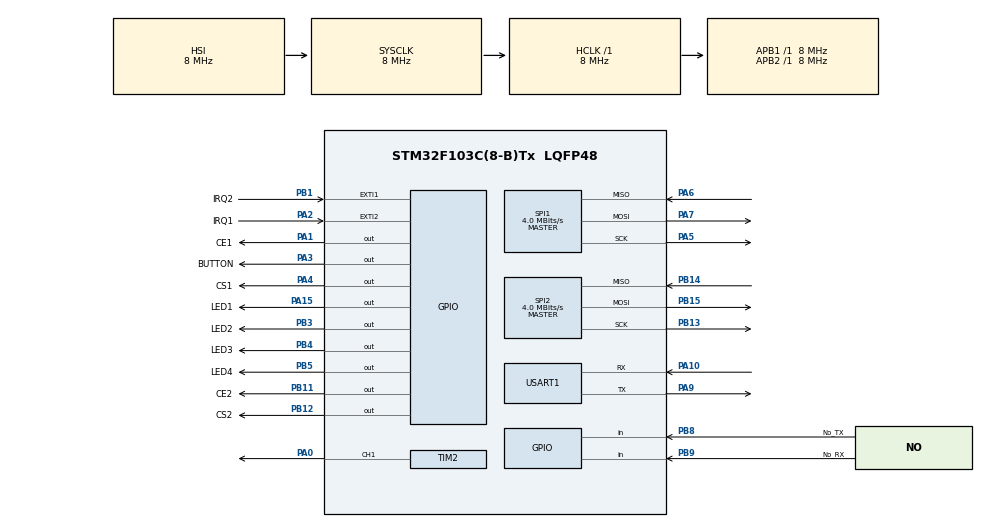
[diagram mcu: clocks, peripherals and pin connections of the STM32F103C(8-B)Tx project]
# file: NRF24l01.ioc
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Mcu.Family=STM32F1
Mcu.Name=STM32F103C(8-B)Tx
Mcu.Package=LQFP48
NVIC.EXTI2_IRQn=true\:0\:0\:false\:false\:true\:true
NVIC.PriorityGroup=NVIC_PRIORITYGROUP_4
NVIC.TIM4_IRQn=true\:0\:0\:false\:false\:true\:true
NVIC.USART1_IRQn=true\:0\:0\:false\:false\:true\:true
PA0-WKUP.Signal=S_TIM2_CH1_ETR
PA1.GPIO_Label=CE1
PA1.Signal=GPIO_Output
PA10.Mode=Asynchronous
PA10.Signal=USART1_RX
PA13.Mode=Serial_Wire
PA13.Signal=SYS_JTMS-SWDIO
PA14.Mode=Serial_Wire
PA14.Signal=SYS_JTCK-SWCLK
PA15.GPIO_Label=LED1
PA15.Signal=GPIO_Output
PA2.GPIO_Label=IRQ1
PA2.GPIO_ModeDefaultEXTI=GPIO_MODE_IT_FALLING
PA2.GPIO_PuPd=GPIO_PULLUP
PA2.Signal=GPXTI2
PA3.GPIO_Label=BUTTON
PA3.Signal=GPIO_Output
PA4.GPIO_Label=CS1
PA4.Signal=GPIO_Output
PA5.Mode=Full_Duplex_Master
PA5.Signal=SPI1_SCK
PA6.Mode=Full_Duplex_Master
PA6.Signal=SPI1_MISO
PA7.Mode=Full_Duplex_Master
PA7.Signal=SPI1_MOSI
PA9.Mode=Asynchronous
PA9.Signal=USART1_TX
PB1.GPIO_Label=IRQ2
PB1.GPIO_PuPd=GPIO_PULLUP
PB1.Signal=GPXTI1
PB11.GPIO_Label=CE2
PB11.Signal=GPIO_Output
PB12.GPIO_Label=CS2
PB12.Signal=GPIO_Output
PB13.Mode=Full_Duplex_Master
PB13.Signal=SPI2_SCK
PB14.Mode=Full_Duplex_Master
PB14.Signal=SPI2_MISO
PB15.Mode=Full_Duplex_Master
PB15.Signal=SPI2_MOSI
PB3.GPIO_Label=LED2
PB3.Signal=GPIO_Output
PB4.GPIO_Label=LED3
PB4.Signal=GPIO_Output
PB5.GPIO_Label=LED4
PB5.Signal=GPIO_Output
PB8.GPIO_Label=No_TX
PB8.GPIO_PuPd=GPIO_PULLUP
PB8.Signal=GPIO_Input
PB9.GPIO_Label=No_RX
PB9.GPIO_PuPd=GPIO_PULLUP
PB9.Signal=GPIO_Input
PD0-OSC_IN.Mode=HSE-External-Oscillator
PD0-OSC_IN.Signal=RCC_OSC_IN
PD1-OSC_OUT.Mode=HSE-External-Oscillator
PD1-OSC_OUT.Signal=RCC_OSC_OUT
ProjectManager.HeapSize=0x200
ProjectManager.StackSize=0x400
ProjectManager.TargetToolchain=MDK-ARM V5
RCC.AHBFreq_Value=8000000
RCC.APB1Freq_Value=8000000
RCC.APB1TimFreq_Value=8000000
RCC.APB2Freq_Value=8000000
RCC.APB2TimFreq_Value=8000000
RCC.HCLKFreq_Value=8000000
RCC.HSE_VALUE=12000000
RCC.PLLSourceVirtual=RCC_PLLSOURCE_HSE
RCC.SYSCLKFreq_VALUE=8000000
RCC.USBFreq_Value=24000000
SH.S_TIM2_CH1_ETR.0=TIM2_CH1,PWM Generation1 CH1
SPI1.BaudRatePrescaler=SPI_BAUDRATEPRESCALER_2
SPI1.CalculateBaudRate=4.0 MBits/s
SPI1.Direction=SPI_DIRECTION_2LINES
SPI1.Mode=SPI_MODE_MASTER
SPI1.VirtualType=VM_MASTER
SPI2.BaudRatePrescaler=SPI_BAUDRATEPRESCALER_2
SPI2.CalculateBaudRate=4.0 MBits/s
SPI2.Direction=SPI_DIRECTION_2LINES
SPI2.Mode=SPI_MODE_MASTER
SPI2.VirtualType=VM_MASTER
TIM2.AutoReloadPreload=TIM_AUTORELOAD_PRELOAD_ENABLE
TIM2.Channel-PWM\ Generation1\ CH1=TIM_CHANNEL_1
TIM2.Period=18181
TIM2.Pulse-PWM\ Generation1\ CH1=9091
TIM4.AutoReloadPreload=TIM_AUTORELOAD_PRELOAD_ENABLE
TIM4.Channel-Output\ Compare1\ No\ Output=TIM_CHANNEL_1
TIM4.Channel-Output\ Compare2\ No\ Output=TIM_CHANNEL_2
TIM4.Channel-Output\ Compare3\ No\ Output=TIM_CHANNEL_3
TIM4.Channel-Output\ Compare4\ No\ Output=TIM_CHANNEL_4
TIM4.Period=49999
TIM4.Prescaler=15
TIM4.Pulse-Output\ Compare1\ No\ Output=49999
TIM4.Pulse-Output\ Compare2\ No\ Output=49999
TIM4.Pulse-Output\ Compare3\ No\ Output=49999
TIM4.Pulse-Output\ Compare4\ No\ Output=49999
USART1.VirtualMode=VM_ASYNC
VP_TIM4_VS_no_output1.Mode=Output Compare1 No Output
VP_TIM4_VS_no_output2.Mode=Output Compare2 No Output
VP_TIM4_VS_no_output3.Mode=Output Compare3 No Output
VP_TIM4_VS_no_output4.Mode=Output Compare4 No Output
board=NRF24l01

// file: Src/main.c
/**
  ******************************************************************************
  * @file           : main.c
  * @brief          : Main program body
  ******************************************************************************
  ** This notice applies to any and all portions of this file
  * that are not between comment pairs USER CODE BEGIN and
  * USER CODE END. Other portions of this file, whether
  * inserted by the user or by software development tools
  * are owned by their respective copyright owners.
  *
  * COPYRIGHT(c) 2018 STMicroelectronics
  *
  * Redistribution and use in source and binary forms, with or without modification,
  * are permitted provided that the following conditions are met:
  *   1. Redistributions of source code must retain the above copyright notice,
  *      this list of conditions and the following disclaimer.
  *   2. Redistributions in binary form must reproduce the above copyright notice,
  *      this list of conditions and the following disclaimer in the documentation
  *      and/or other materials provided with the distribution.
  *   3. Neither the name of STMicroelectronics nor the names of its contributors
  *      may be used to endorse or promote products derived from this software
  *      without specific prior written permission.
  *
  * THIS SOFTWARE IS PROVIDED BY THE COPYRIGHT HOLDERS AND CONTRIBUTORS "AS IS"
  * AND ANY EXPRESS OR IMPLIED WARRANTIES, INCLUDING, BUT NOT LIMITED TO, THE
  * IMPLIED WARRANTIES OF MERCHANTABILITY AND FITNESS FOR A PARTICULAR PURPOSE ARE
  * DISCLAIMED. IN NO EVENT SHALL THE COPYRIGHT HOLDER OR CONTRIBUTORS BE LIABLE
  * FOR ANY DIRECT, INDIRECT, INCIDENTAL, SPECIAL, EXEMPLARY, OR CONSEQUENTIAL
  * DAMAGES (INCLUDING, BUT NOT LIMITED TO, PROCUREMENT OF SUBSTITUTE GOODS OR
  * SERVICES; LOSS OF USE, DATA, OR PROFITS; OR BUSINESS INTERRUPTION) HOWEVER
  * CAUSED AND ON ANY THEORY OF LIABILITY, WHETHER IN CONTRACT, STRICT LIABILITY,
  * OR TORT (INCLUDING NEGLIGENCE OR OTHERWISE) ARISING IN ANY WAY OUT OF THE USE
  * OF THIS SOFTWARE, EVEN IF ADVISED OF THE POSSIBILITY OF SUCH DAMAGE.
  *
  ******************************************************************************
  */
#include "main.h"
#include "stm32f1xx_hal.h"

/* USER CODE BEGIN Includes */
#include "nrf24l01.h"
#include "string.h"
#include "Alerts.h"
/* USER CODE END Includes */

SPI_HandleTypeDef hspi1;
SPI_HandleTypeDef hspi2;

TIM_HandleTypeDef htim2;
TIM_HandleTypeDef htim4;

UART_HandleTypeDef huart1;

/* USER CODE BEGIN PV */
/* Private variables ---------------------------------------------------------*/

volatile uint8_t uart_in[32];
volatile char * uart_in_p = (char *) &uart_in;
/* USER CODE END PV */

void SystemClock_Config(void);
static void MX_GPIO_Init(void);
static void MX_SPI1_Init(void);
static void MX_SPI2_Init(void);
static void MX_USART1_UART_Init(void);
static void MX_TIM2_Init(void);
static void MX_TIM4_Init(void);

void HAL_TIM_MspPostInit(TIM_HandleTypeDef *htim);

/* USER CODE BEGIN PFP */
/* Private function prototypes -----------------------------------------------*/
void BUZZ (uint8_t time_x100ms);
void BLINK (uint8_t time_x100ms, uint8_t led, MODE mode);
uint8_t atoi8 (uint8_t* start);
uint8_t Parse_Packet (uint8_t *in);
/* USER CODE END PFP */

/* USER CODE BEGIN 0 */
/* FOR USE */
LED_driver LD1, LD2, LD3, LD4;
LED_driver* LED_p[4];
BUZ_driver Buzzer;

#define IS_DIGIT(x) (((x)>47) && ((x)<58))
#define PACKET_SIZE 5   //NRFx.payload_length
nrf24l01_dev nrf1;
uint8_t i,reg;
uint8_t push[32] = "heyoo";
uint8_t pull[32] = "yoohe";
uint8_t ADDR_1[5] = {'R','F','1','0','3'};  //TX, RX_P0
uint8_t ADDR_2[5] = {'R','F','4','0','7'};  //PF_P1
uint8_t PIPE_1[5] = {'P','I','P','E','1'};
uint8_t uart_str[32] = "";
char* uart_str_p = (char *)uart_str;
/* FOR DEBUG */
HAL_SPI_StateTypeDef spi_state;
//static NRF_RESULT res;
volatile uint8_t IRQ1_counter, IRQ2_counter, IRQ_flags;
/* USER CODE END 0 */

int main(void)
{
  /* USER CODE BEGIN 1 */

    LD1.LED_Port = GPIOA;   LD1.LED_Pin = GPIO_PIN_15;
    LD2.LED_Port = GPIOB;   LD2.LED_Pin = GPIO_PIN_3;
    LD3.LED_Port = GPIOB;   LD3.LED_Pin = GPIO_PIN_4;
    LD4.LED_Port = GPIOB;   LD4.LED_Pin = GPIO_PIN_5;
    LED_p[0]=&LD1; LED_p[1]=&LD2; LED_p[2]=&LD3; LED_p[3]=&LD4;

    Buzzer.TIM_Handle = &htim2;
    Buzzer.TIM_Channel = TIM_CHANNEL_1;

    IRQ1_counter = 0;
    nrf1.DATA_RATE = NRF_DATA_RATE_2MBPS;
    nrf1.TX_POWER = NRF_TX_PWR_0dBm;
    nrf1.CRC_WIDTH = NRF_CRC_WIDTH_1B;
    nrf1.ADDR_WIDTH = NRF_ADDR_WIDTH_5;
    nrf1.PayloadLength = PACKET_SIZE; // maximum is 32 Bytes
    nrf1.RetransmitCount = 15; // maximum is 15 times
    nrf1.RetransmitDelay = 0x0F; // 4000us, LSB:250us

    nrf1.RF_CHANNEL = 0;
    nrf1.RX_ADDRESS = ADDR_1;   /*Pipe0 must be the same as target addr - for ACK packets*/
    nrf1.TX_ADDRESS = ADDR_1;   /*Target addr*/

    nrf1.NRF_IRQn = EXTI2_IRQn;
    nrf1.spi=&hspi1;

	nrf1.NRF_CSN_GPIOx = GPIOA;
    nrf1.NRF_CSN_GPIO_PIN = GPIO_PIN_4;
    nrf1.NRF_CE_GPIOx = GPIOA;
    nrf1.NRF_CE_GPIO_PIN = GPIO_PIN_1;
    nrf1.NRF_IRQ_GPIOx = GPIOA;
    nrf1.NRF_IRQ_GPIO_PIN = GPIO_PIN_2;

  /* USER CODE END 1 */

  /* MCU Configuration----------------------------------------------------------*/

  /* Reset of all peripherals, Initializes the Flash interface and the Systick. */
  HAL_Init();

  /* Configure the system clock */
  SystemClock_Config();

  /* Initialize all configured peripherals */
  MX_GPIO_Init();
  MX_SPI1_Init();
  MX_SPI2_Init();
  MX_USART1_UART_Init();
  MX_TIM2_Init();
  MX_TIM4_Init();
  /* USER CODE BEGIN 2 */
//HAL_Delay(2000);
    USART1->CR1 |= (1<<5); //RXNEIE = RX not empty interrupt enable;
    HAL_TIM_OC_Start (&htim4, TIM_CHANNEL_1);   //enable buzz timer
    HAL_TIM_OC_Start (&htim4, TIM_CHANNEL_2);   //enable blink timer
    TIM4->DIER |= TIM_IT_CC2;                   //enable blink interrupt
  sprintf(uart_str_p, "\nAssimilation successful. %u\n",SystemCoreClock);
  HAL_UART_Transmit(&huart1, uart_str, strlen(uart_str_p), 100);
/*DEBUG LINE*/  HAL_GPIO_WritePin(GPIOB, GPIO_PIN_3 | GPIO_PIN_4 | GPIO_PIN_5, GPIO_PIN_RESET);
/*DEBUG LINE*/  HAL_GPIO_WritePin(GPIOA, GPIO_PIN_15, GPIO_PIN_RESET);

    sprintf(uart_str_p, "NRF1 SET returns=%d\n",NRF_Init(&nrf1));
    HAL_UART_Transmit(&huart1, uart_str, strlen(uart_str_p), 100);

 /*HERE STARTS FUN*/
    NRF_SendPacket(&nrf1,push);
    //BUZZ (1);   //REPORT FOR DUTY!
    BLINK (5, 1, PERM);

  /* USER CODE END 2 */

  /* Infinite loop */
  while (1)
  {

  /* USER CODE BEGIN 3 */

      /*NO FUN WITHOUT CHECK*/
    NRF_ReadRegister(&nrf1, NRF_CONFIG, &reg);

//    if (!HAL_GPIO_ReadPin(GPIOB, GPIO_PIN_9))
//        NRF_EnableRXDataReadyIRQ(&nrf1, 0);
//    else NRF_EnableRXDataReadyIRQ(&nrf1, 1); //NRF_EnableTXDataSentIRQ
      //BAD IDEA - CONSTANT REG ABUSE

    if ( !(reg&0x80) && (reg & 2) )
    {           /*==========FUN HERE==========*/

        if ((IRQ_flags&(1<<6))&&(HAL_GPIO_ReadPin(GPIOB, GPIO_PIN_9)))   // RX FIFO Interrupt
        {
            //sprintf(uart_str_p, "\nSPAWN MORE OVERLORDS!!!\n");
            IRQ_flags &= ~(1<<6);    //drop flag
            sprintf(uart_str_p, "%s\n",nrf1.RX_BUFFER);
            HAL_UART_Transmit(&huart1, uart_str, strlen(uart_str_p), 100);
            BLINK(2, 2, ONCE);      //report outside
        }
        if (IRQ_flags&(1<<5))   // TX Data Sent Interrupt
        {
            IRQ_flags &= ~(1<<5);    //drop flag
            BLINK(2, 3, ONCE);      //report outside
        }
        if (IRQ_flags&(1<<4))   // MaxRetransmits reached
        {
            IRQ_flags &= ~(1<<4);    //drop flag
            BLINK(2, 4, ONCE);      //report outside
        }
            if (HAL_GPIO_ReadPin(GPIOB, GPIO_PIN_8))
                NRF_SendPacket(&nrf1,push);

    }
    else
        ;
//    IRQ_flags=0;
    if (uart_in[0] != 0)
    {
    Parse_Packet(uart_in);
        for (i=0;i<32;i++)
        {
            if (uart_in[i] == 0x0A || uart_in[i] == 0x0D)
                break;
            else
                uart_in[i]=0;
        }
    }
    HAL_Delay(500);             //REWRITE THIS SHIT ON TIM4_CH3
  }
  /* USER CODE END 3 */

}

void SystemClock_Config(void)
{

  RCC_OscInitTypeDef RCC_OscInitStruct;
  RCC_ClkInitTypeDef RCC_ClkInitStruct;

    /**Initializes the CPU, AHB and APB busses clocks
    */
  RCC_OscInitStruct.OscillatorType = RCC_OSCILLATORTYPE_HSI;
  RCC_OscInitStruct.HSIState = RCC_HSI_ON;
  RCC_OscInitStruct.HSICalibrationValue = 16;
  RCC_OscInitStruct.PLL.PLLState = RCC_PLL_NONE;
  if (HAL_RCC_OscConfig(&RCC_OscInitStruct) != HAL_OK)
  {
    _Error_Handler(__FILE__, __LINE__);
  }

    /**Initializes the CPU, AHB and APB busses clocks
    */
  RCC_ClkInitStruct.ClockType = RCC_CLOCKTYPE_HCLK|RCC_CLOCKTYPE_SYSCLK
                              |RCC_CLOCKTYPE_PCLK1|RCC_CLOCKTYPE_PCLK2;
  RCC_ClkInitStruct.SYSCLKSource = RCC_SYSCLKSOURCE_HSI;
  RCC_ClkInitStruct.AHBCLKDivider = RCC_SYSCLK_DIV1;
  RCC_ClkInitStruct.APB1CLKDivider = RCC_HCLK_DIV1;
  RCC_ClkInitStruct.APB2CLKDivider = RCC_HCLK_DIV1;

  if (HAL_RCC_ClockConfig(&RCC_ClkInitStruct, FLASH_LATENCY_0) != HAL_OK)
  {
    _Error_Handler(__FILE__, __LINE__);
  }

    /**Configure the Systick interrupt time
    */
  HAL_SYSTICK_Config(HAL_RCC_GetHCLKFreq()/1000);

    /**Configure the Systick
    */
  HAL_SYSTICK_CLKSourceConfig(SYSTICK_CLKSOURCE_HCLK);

  /* SysTick_IRQn interrupt configuration */
  HAL_NVIC_SetPriority(SysTick_IRQn, 0, 0);
}

/* SPI1 init function */
static void MX_SPI1_Init(void)
{

  /* SPI1 parameter configuration*/
  hspi1.Instance = SPI1;
  hspi1.Init.Mode = SPI_MODE_MASTER;
  hspi1.Init.Direction = SPI_DIRECTION_2LINES;
  hspi1.Init.DataSize = SPI_DATASIZE_8BIT;
  hspi1.Init.CLKPolarity = SPI_POLARITY_LOW;
  hspi1.Init.CLKPhase = SPI_PHASE_1EDGE;
  hspi1.Init.NSS = SPI_NSS_SOFT;
  hspi1.Init.BaudRatePrescaler = SPI_BAUDRATEPRESCALER_2;
  hspi1.Init.FirstBit = SPI_FIRSTBIT_MSB;
  hspi1.Init.TIMode = SPI_TIMODE_DISABLE;
  hspi1.Init.CRCCalculation = SPI_CRCCALCULATION_DISABLE;
  hspi1.Init.CRCPolynomial = 10;
  if (HAL_SPI_Init(&hspi1) != HAL_OK)
  {
    _Error_Handler(__FILE__, __LINE__);
  }

}

/* SPI2 init function */
static void MX_SPI2_Init(void)
{

  /* SPI2 parameter configuration*/
  hspi2.Instance = SPI2;
  hspi2.Init.Mode = SPI_MODE_MASTER;
  hspi2.Init.Direction = SPI_DIRECTION_2LINES;
  hspi2.Init.DataSize = SPI_DATASIZE_8BIT;
  hspi2.Init.CLKPolarity = SPI_POLARITY_LOW;
  hspi2.Init.CLKPhase = SPI_PHASE_1EDGE;
  hspi2.Init.NSS = SPI_NSS_SOFT;
  hspi2.Init.BaudRatePrescaler = SPI_BAUDRATEPRESCALER_2;
  hspi2.Init.FirstBit = SPI_FIRSTBIT_MSB;
  hspi2.Init.TIMode = SPI_TIMODE_DISABLE;
  hspi2.Init.CRCCalculation = SPI_CRCCALCULATION_DISABLE;
  hspi2.Init.CRCPolynomial = 10;
  if (HAL_SPI_Init(&hspi2) != HAL_OK)
  {
    _Error_Handler(__FILE__, __LINE__);
  }

}

/* TIM2 init function */
static void MX_TIM2_Init(void)
{

  TIM_MasterConfigTypeDef sMasterConfig;
  TIM_OC_InitTypeDef sConfigOC;

  htim2.Instance = TIM2;
  htim2.Init.Prescaler = 0;
  htim2.Init.CounterMode = TIM_COUNTERMODE_UP;
  htim2.Init.Period = 18181;
  htim2.Init.ClockDivision = TIM_CLOCKDIVISION_DIV1;
  htim2.Init.AutoReloadPreload = TIM_AUTORELOAD_PRELOAD_ENABLE;
  if (HAL_TIM_PWM_Init(&htim2) != HAL_OK)
  {
    _Error_Handler(__FILE__, __LINE__);
  }

  sMasterConfig.MasterOutputTrigger = TIM_TRGO_RESET;
  sMasterConfig.MasterSlaveMode = TIM_MASTERSLAVEMODE_DISABLE;
  if (HAL_TIMEx_MasterConfigSynchronization(&htim2, &sMasterConfig) != HAL_OK)
  {
    _Error_Handler(__FILE__, __LINE__);
  }

  sConfigOC.OCMode = TIM_OCMODE_PWM1;
  sConfigOC.Pulse = 9091;
  sConfigOC.OCPolarity = TIM_OCPOLARITY_HIGH;
  sConfigOC.OCFastMode = TIM_OCFAST_DISABLE;
  if (HAL_TIM_PWM_ConfigChannel(&htim2, &sConfigOC, TIM_CHANNEL_1) != HAL_OK)
  {
    _Error_Handler(__FILE__, __LINE__);
  }

  HAL_TIM_MspPostInit(&htim2);

}

/* TIM4 init function */
static void MX_TIM4_Init(void)
{

  TIM_MasterConfigTypeDef sMasterConfig;
  TIM_OC_InitTypeDef sConfigOC;

  htim4.Instance = TIM4;
  htim4.Init.Prescaler = 15;
  htim4.Init.CounterMode = TIM_COUNTERMODE_UP;
  htim4.Init.Period = 49999;
  htim4.Init.ClockDivision = TIM_CLOCKDIVISION_DIV1;
  htim4.Init.AutoReloadPreload = TIM_AUTORELOAD_PRELOAD_ENABLE;
  if (HAL_TIM_OC_Init(&htim4) != HAL_OK)
  {
    _Error_Handler(__FILE__, __LINE__);
  }

  sMasterConfig.MasterOutputTrigger = TIM_TRGO_RESET;
  sMasterConfig.MasterSlaveMode = TIM_MASTERSLAVEMODE_DISABLE;
  if (HAL_TIMEx_MasterConfigSynchronization(&htim4, &sMasterConfig) != HAL_OK)
  {
    _Error_Handler(__FILE__, __LINE__);
  }

  sConfigOC.OCMode = TIM_OCMODE_TIMING;
  sConfigOC.Pulse = 49999;
  sConfigOC.OCPolarity = TIM_OCPOLARITY_HIGH;
  sConfigOC.OCFastMode = TIM_OCFAST_DISABLE;
  if (HAL_TIM_OC_ConfigChannel(&htim4, &sConfigOC, TIM_CHANNEL_1) != HAL_OK)
  {
    _Error_Handler(__FILE__, __LINE__);
  }

  if (HAL_TIM_OC_ConfigChannel(&htim4, &sConfigOC, TIM_CHANNEL_2) != HAL_OK)
  {
    _Error_Handler(__FILE__, __LINE__);
  }

  if (HAL_TIM_OC_ConfigChannel(&htim4, &sConfigOC, TIM_CHANNEL_3) != HAL_OK)
  {
    _Error_Handler(__FILE__, __LINE__);
  }

  if (HAL_TIM_OC_ConfigChannel(&htim4, &sConfigOC, TIM_CHANNEL_4) != HAL_OK)
  {
    _Error_Handler(__FILE__, __LINE__);
  }

}

/* USART1 init function */
static void MX_USART1_UART_Init(void)
{

  huart1.Instance = USART1;
  huart1.Init.BaudRate = 115200;
  huart1.Init.WordLength = UART_WORDLENGTH_8B;
  huart1.Init.StopBits = UART_STOPBITS_1;
  huart1.Init.Parity = UART_PARITY_NONE;
  huart1.Init.Mode = UART_MODE_TX_RX;
  huart1.Init.HwFlowCtl = UART_HWCONTROL_NONE;
  huart1.Init.OverSampling = UART_OVERSAMPLING_16;
  if (HAL_UART_Init(&huart1) != HAL_OK)
  {
    _Error_Handler(__FILE__, __LINE__);
  }

}

/** Configure pins as
        * Analog
        * Input
        * Output
        * EVENT_OUT
        * EXTI
*/
static void MX_GPIO_Init(void)
{

  GPIO_InitTypeDef GPIO_InitStruct;

  /* GPIO Ports Clock Enable */
  __HAL_RCC_GPIOD_CLK_ENABLE();
  __HAL_RCC_GPIOA_CLK_ENABLE();
  __HAL_RCC_GPIOB_CLK_ENABLE();

  /*Configure GPIO pin Output Level */
  HAL_GPIO_WritePin(GPIOA, CE1_Pin|BUTTON_Pin|CS1_Pin|LED1_Pin, GPIO_PIN_RESET);

  /*Configure GPIO pin Output Level */
  HAL_GPIO_WritePin(GPIOB, CE2_Pin|CS2_Pin|LED2_Pin|LED3_Pin
                          |LED4_Pin, GPIO_PIN_RESET);

  /*Configure GPIO pins : CE1_Pin BUTTON_Pin CS1_Pin LED1_Pin */
  GPIO_InitStruct.Pin = CE1_Pin|BUTTON_Pin|CS1_Pin|LED1_Pin;
  GPIO_InitStruct.Mode = GPIO_MODE_OUTPUT_PP;
  GPIO_InitStruct.Speed = GPIO_SPEED_FREQ_LOW;
  HAL_GPIO_Init(GPIOA, &GPIO_InitStruct);

  /*Configure GPIO pin : IRQ1_Pin */
  GPIO_InitStruct.Pin = IRQ1_Pin;
  GPIO_InitStruct.Mode = GPIO_MODE_IT_FALLING;
  GPIO_InitStruct.Pull = GPIO_PULLUP;
  HAL_GPIO_Init(IRQ1_GPIO_Port, &GPIO_InitStruct);

  /*Configure GPIO pin : IRQ2_Pin */
  GPIO_InitStruct.Pin = IRQ2_Pin;
  GPIO_InitStruct.Mode = GPIO_MODE_IT_RISING;
  GPIO_InitStruct.Pull = GPIO_PULLUP;
  HAL_GPIO_Init(IRQ2_GPIO_Port, &GPIO_InitStruct);

  /*Configure GPIO pins : CE2_Pin CS2_Pin LED2_Pin LED3_Pin
                           LED4_Pin */
  GPIO_InitStruct.Pin = CE2_Pin|CS2_Pin|LED2_Pin|LED3_Pin
                          |LED4_Pin;
  GPIO_InitStruct.Mode = GPIO_MODE_OUTPUT_PP;
  GPIO_InitStruct.Speed = GPIO_SPEED_FREQ_LOW;
  HAL_GPIO_Init(GPIOB, &GPIO_InitStruct);

  /*Configure GPIO pins : No_TX_Pin No_RX_Pin */
  GPIO_InitStruct.Pin = No_TX_Pin|No_RX_Pin;
  GPIO_InitStruct.Mode = GPIO_MODE_INPUT;
  GPIO_InitStruct.Pull = GPIO_PULLUP;
  HAL_GPIO_Init(GPIOB, &GPIO_InitStruct);

  /* EXTI interrupt init*/
  HAL_NVIC_SetPriority(EXTI2_IRQn, 0, 0);
  HAL_NVIC_EnableIRQ(EXTI2_IRQn);

}

/* USER CODE BEGIN 4 */
void BUZZ (uint8_t time_x100ms)
    {
        if (time_x100ms < 101)
        {
            Buzzer.timer = time_x100ms+1;  //due to pre-decrement in ISR it stops on reaching 1
            Buzzer.State = START;
            TIM4->DIER |= TIM_IT_CC1;
        }
        else return;
        return;
    }

    /*Send time=0 to stop*/
void BLINK (uint8_t time_x100ms, uint8_t led, MODE mode)
    {
        switch (led)
        {
            case 1:
                {
                LD1.timer = time_x100ms;
                LD1.Mode  = mode;
                if (!time_x100ms)
                    LD1.State = STOP;
                else
                LD1.State = START;
                break;
                };
            case 2:
                {
                LD2.timer = time_x100ms;
                LD2.Mode  = mode;
                if (!time_x100ms)
                    LD2.State = STOP;
                else
                LD2.State = START;
                break;
                }
            case 3:
                {
                LD3.timer = time_x100ms;
                LD3.Mode  = mode;
                if (!time_x100ms)
                    LD3.State = STOP;
                else
                LD3.State = START;
                break;
                }
            case 4:
                {
                LD4.timer = time_x100ms;
                LD4.Mode  = mode;
                if (!time_x100ms)
                    LD4.State = STOP;
                else
                LD4.State = START;
                break;
                }
            default:
            {
                return;
            }
        }
        return;
    }

uint8_t Parse_Packet (uint8_t *in)
{

	uint8_t *p;
	uint8_t temp;
	uint8_t led;
    if (!strncmp ((char *)in,"BUZZ",4))
    {
        if (in[4]=='\f' || in[4]=='\n')
            BUZZ(2);
        if (in[4]==' ')
            BUZZ(atoi8(&in[5]));
        return 0;
    }
    if (!strncmp ((char *)in,"BLINK",5))
    {
        if (in[5]=='\f' || in[5]=='\n')
            BLINK(3,4,ONCE);
        if (in[5]==' ')
        {
            //parse input values
            p = &in[6];
            temp=atoi8(p); //GET TIME
            led=0;        //GET LED
            while (IS_DIGIT(*p)) p++;
            p++;
            led = (*p) - 48;
            if (!( (led>0) && (led<5) ))    //wrong LED selected - do nothing
                return 2;
            p+=2;
            if (!strncmp ((char *)p,"PERM",4))
                BLINK (temp, led, PERM);
            else BLINK (temp,led, ONCE);     //default must be "ONCE"
        }
        return 0;
    }

    //NRF ReadReg
    if (!strncmp ((char *)in,"NRF_REG",7))
    {
        temp = atoi8 (&in[8]);
        NRF_ReadRegister(&nrf1, temp, &reg);
        sprintf(uart_str_p, "NRF_REG=0x%x\n",reg);
        HAL_UART_Transmit(&huart1, uart_str, strlen(uart_str_p), 100);
        return 0;
    }
    if (!strncmp ((char *)in,"CONFIG",6))
    {
        NRF_ReadRegister(&nrf1, NRF_CONFIG, &reg);
        sprintf(uart_str_p, "CONFIG=0x%x\n",reg);
        HAL_UART_Transmit(&huart1, uart_str, strlen(uart_str_p), 100);
        return 0;
    }
    if (!strncmp ((char *)in,"RF_SETUP",8))
    {
        NRF_ReadRegister(&nrf1, NRF_RF_SETUP, &reg);
        sprintf(uart_str_p, "RF_SETUP=0x%x\n",reg);
        HAL_UART_Transmit(&huart1, uart_str, strlen(uart_str_p), 100);
        return 0;
    }
    else return 1;                      //command not recognized
}

uint8_t atoi8 (uint8_t* start)
{
    uint8_t     i=0;
    uint16_t    res=0;  //for not to crop on "res*=10"
    for (i=0;i<32;i++)  //for if there's no digits at all don't run away too far
        while (!IS_DIGIT(*start))
            start++;
    for (i=0;i<3;i++)   //since it's 0..255 read no more than 3 chars
        {
            if (IS_DIGIT(start[i]))
            {
                res+=start[i]-48;
                res*=10;
            }
            else break;
        }
        return (uint8_t) (res/10);
}
/* USER CODE END 4 */

void _Error_Handler(char *file, int line)
{
  while(1)
  {
  }
}

/************************ (C) COPYRIGHT STMicroelectronics *****END OF FILE****/
